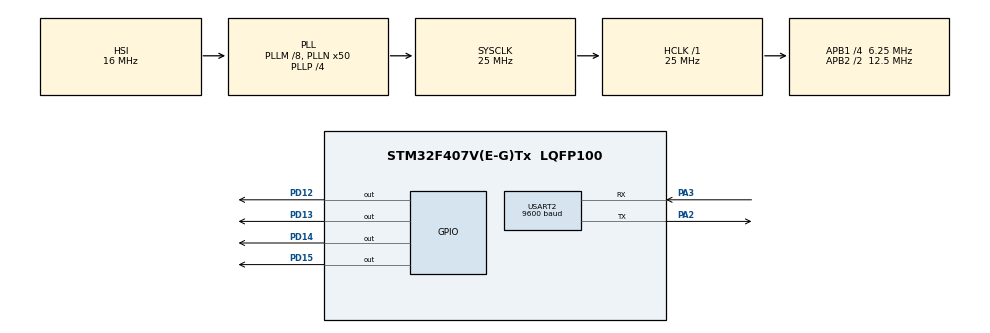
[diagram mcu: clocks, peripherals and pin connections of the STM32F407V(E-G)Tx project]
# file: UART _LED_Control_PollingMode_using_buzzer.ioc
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Mcu.Family=STM32F4
Mcu.Name=STM32F407V(E-G)Tx
Mcu.Package=LQFP100
NVIC.PriorityGroup=NVIC_PRIORITYGROUP_0
PA2.Mode=Asynchronous
PA2.Signal=USART2_TX
PA3.Mode=Asynchronous
PA3.Signal=USART2_RX
PD12.Signal=GPIO_Output
PD13.Signal=GPIO_Output
PD14.Signal=GPIO_Output
PD15.Signal=GPIO_Output
ProjectManager.HeapSize=0x200
ProjectManager.StackSize=0x400
ProjectManager.TargetToolchain=STM32CubeIDE
RCC.48MHZClocksFreq_Value=14285714.285714285
RCC.AHBFreq_Value=25000000
RCC.APB1CLKDivider=RCC_HCLK_DIV4
RCC.APB1Freq_Value=6250000
RCC.APB1TimFreq_Value=12500000
RCC.APB2CLKDivider=RCC_HCLK_DIV2
RCC.APB2Freq_Value=12500000
RCC.APB2TimFreq_Value=25000000
RCC.CortexFreq_Value=25000000
RCC.HCLKFreq_Value=25000000
RCC.HSE_VALUE=8000000
RCC.HSI_VALUE=16000000
RCC.LSE_VALUE=32768
RCC.PLLM=8
RCC.PLLN=50
RCC.PLLP=RCC_PLLP_DIV4
RCC.PLLQ=7
RCC.SYSCLKFreq_VALUE=25000000
RCC.SYSCLKSource=RCC_SYSCLKSOURCE_PLLCLK
RCC.VCOOutputFreq_Value=100000000
USART2.BaudRate=9600
USART2.VirtualMode=VM_ASYNC
board=STM32F407G-DISC1

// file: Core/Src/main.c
/* USER CODE BEGIN Header */
/**
  ******************************************************************************
  * @file           : main.c
  * @brief          : Main program body
  ******************************************************************************
  * @attention
  *
  * Copyright (c) 2025 STMicroelectronics.
  * All rights reserved.
  *
  * This software is licensed under terms that can be found in the LICENSE file
  * in the root directory of this software component.
  * If no LICENSE file comes with this software, it is provided AS-IS.
  *
  ******************************************************************************
  */
/* USER CODE END Header */
#include "main.h"

/* USER CODE BEGIN Includes */

#define MAX_LEN 100
char rx_string[MAX_LEN];
uint8_t rx_byte;
uint16_t rx_index = 0;

/* USER CODE END Includes */

UART_HandleTypeDef huart2;

void SystemClock_Config(void);
static void MX_GPIO_Init(void);
static void MX_USART2_UART_Init(void);

int main(void)
{

  /* MCU Configuration--------------------------------------------------------*/

  /* Reset of all peripherals, Initializes the Flash interface and the Systick. */
  HAL_Init();

  /* Configure the system clock */
  SystemClock_Config();

  /* Initialize all configured peripherals */
  MX_GPIO_Init();
  MX_USART2_UART_Init();
  /* USER CODE BEGIN 2 */
  char msg[] = "Hello sunbeam...\r\n";
   HAL_UART_Transmit(&huart2, ( uint8_t *)msg,strlen(msg),HAL_MAX_DELAY);

  /* USER CODE END 2 */

  /* Infinite loop */
  while (1)
  {

    /* USER CODE BEGIN 3 */
	  /* Receive one byte (blocking polling) */
	       HAL_UART_Receive(&huart2, &rx_byte, 1, HAL_MAX_DELAY);

	       /* Echo received byte */
	       HAL_UART_Transmit(&huart2, &rx_byte, 1, HAL_MAX_DELAY);

	       /* ENTER key handling */
	       if (rx_byte == '\r')
	       {
	           rx_string[rx_index] = '\0';   // terminate string

	           char msg1[] = "\r\nYou sent: ";
	           HAL_UART_Transmit(&huart2, (uint8_t*)msg1, strlen(msg1), HAL_MAX_DELAY);
	           HAL_UART_Transmit(&huart2, (uint8_t*)rx_string, strlen(rx_string), HAL_MAX_DELAY);

	           if( strcmp (rx_string , "Buzzer_on")==0)
	           {
	        	   HAL_GPIO_WritePin(GPIOD, GPIO_PIN_14,GPIO_PIN_SET);
	        	   HAL_Delay(1000);
	        	   char msg1[50] = "\nBuzzer is on...\r\n";
	        	   HAL_UART_Transmit(&huart2, (uint8_t*)msg1, strlen(msg1), HAL_MAX_DELAY);

	        	   char msg4[50] = "\r\n";
	        	   HAL_UART_Transmit(&huart2, (uint8_t*)msg4, strlen(msg4), HAL_MAX_DELAY);
	            }
	           else if(strcmp(rx_string , "Buzzer_off")==0)
	           {
	        	   HAL_GPIO_WritePin(GPIOD, GPIO_PIN_13,GPIO_PIN_RESET);
	        	   HAL_Delay(1000);
	        	   char msg2[50] = "\nBuzzer is off...\r\n";
	        	   HAL_UART_Transmit(&huart2, (uint8_t*)msg2, strlen(msg2), HAL_MAX_DELAY);

	        	   char msg5[50] = "\r\n";
	        	  	HAL_UART_Transmit(&huart2, (uint8_t*)msg5, strlen(msg5), HAL_MAX_DELAY);
	           }
	           else
	           {
	        	   char msg3[50] = "\nInvalid command....\r\n";
	        		HAL_UART_Transmit(&huart2, (uint8_t*)msg3, strlen(msg3), HAL_MAX_DELAY);
	           }
	           rx_index = 0;

	       }
	            else
	            {
	                /* Store character */
	                if (rx_index < MAX_LEN - 1)
	                {
	                    rx_string[rx_index++] = rx_byte;
	                }
	            }
  }
  /* USER CODE END 3 */
}

void SystemClock_Config(void)
{
  RCC_OscInitTypeDef RCC_OscInitStruct = {0};
  RCC_ClkInitTypeDef RCC_ClkInitStruct = {0};

  /** Configure the main internal regulator output voltage
  */
  __HAL_RCC_PWR_CLK_ENABLE();
  __HAL_PWR_VOLTAGESCALING_CONFIG(PWR_REGULATOR_VOLTAGE_SCALE1);

  /** Initializes the RCC Oscillators according to the specified parameters
  * in the RCC_OscInitTypeDef structure.
  */
  RCC_OscInitStruct.OscillatorType = RCC_OSCILLATORTYPE_HSI;
  RCC_OscInitStruct.HSIState = RCC_HSI_ON;
  RCC_OscInitStruct.HSICalibrationValue = RCC_HSICALIBRATION_DEFAULT;
  RCC_OscInitStruct.PLL.PLLState = RCC_PLL_ON;
  RCC_OscInitStruct.PLL.PLLSource = RCC_PLLSOURCE_HSI;
  RCC_OscInitStruct.PLL.PLLM = 8;
  RCC_OscInitStruct.PLL.PLLN = 50;
  RCC_OscInitStruct.PLL.PLLP = RCC_PLLP_DIV4;
  RCC_OscInitStruct.PLL.PLLQ = 7;
  if (HAL_RCC_OscConfig(&RCC_OscInitStruct) != HAL_OK)
  {
    Error_Handler();
  }

  /** Initializes the CPU, AHB and APB buses clocks
  */
  RCC_ClkInitStruct.ClockType = RCC_CLOCKTYPE_HCLK|RCC_CLOCKTYPE_SYSCLK
                              |RCC_CLOCKTYPE_PCLK1|RCC_CLOCKTYPE_PCLK2;
  RCC_ClkInitStruct.SYSCLKSource = RCC_SYSCLKSOURCE_PLLCLK;
  RCC_ClkInitStruct.AHBCLKDivider = RCC_SYSCLK_DIV1;
  RCC_ClkInitStruct.APB1CLKDivider = RCC_HCLK_DIV4;
  RCC_ClkInitStruct.APB2CLKDivider = RCC_HCLK_DIV2;

  if (HAL_RCC_ClockConfig(&RCC_ClkInitStruct, FLASH_LATENCY_0) != HAL_OK)
  {
    Error_Handler();
  }
}

static void MX_USART2_UART_Init(void)
{

  huart2.Instance = USART2;
  huart2.Init.BaudRate = 9600;
  huart2.Init.WordLength = UART_WORDLENGTH_8B;
  huart2.Init.StopBits = UART_STOPBITS_1;
  huart2.Init.Parity = UART_PARITY_NONE;
  huart2.Init.Mode = UART_MODE_TX_RX;
  huart2.Init.HwFlowCtl = UART_HWCONTROL_NONE;
  huart2.Init.OverSampling = UART_OVERSAMPLING_16;
  if (HAL_UART_Init(&huart2) != HAL_OK)
  {
    Error_Handler();
  }

}

static void MX_GPIO_Init(void)
{
  GPIO_InitTypeDef GPIO_InitStruct = {0};

  /* GPIO Ports Clock Enable */
  __HAL_RCC_GPIOA_CLK_ENABLE();
  __HAL_RCC_GPIOD_CLK_ENABLE();

  /*Configure GPIO pin Output Level */
  HAL_GPIO_WritePin(GPIOD, GPIO_PIN_12|GPIO_PIN_13|GPIO_PIN_14|GPIO_PIN_15, GPIO_PIN_RESET);

  /*Configure GPIO pins : PD12 PD13 PD14 PD15 */
  GPIO_InitStruct.Pin = GPIO_PIN_12|GPIO_PIN_13|GPIO_PIN_14|GPIO_PIN_15;
  GPIO_InitStruct.Mode = GPIO_MODE_OUTPUT_PP;
  GPIO_InitStruct.Pull = GPIO_NOPULL;
  GPIO_InitStruct.Speed = GPIO_SPEED_FREQ_LOW;
  HAL_GPIO_Init(GPIOD, &GPIO_InitStruct);

}

void Error_Handler(void)
{
  __disable_irq();
  while (1)
  {
  }
}
